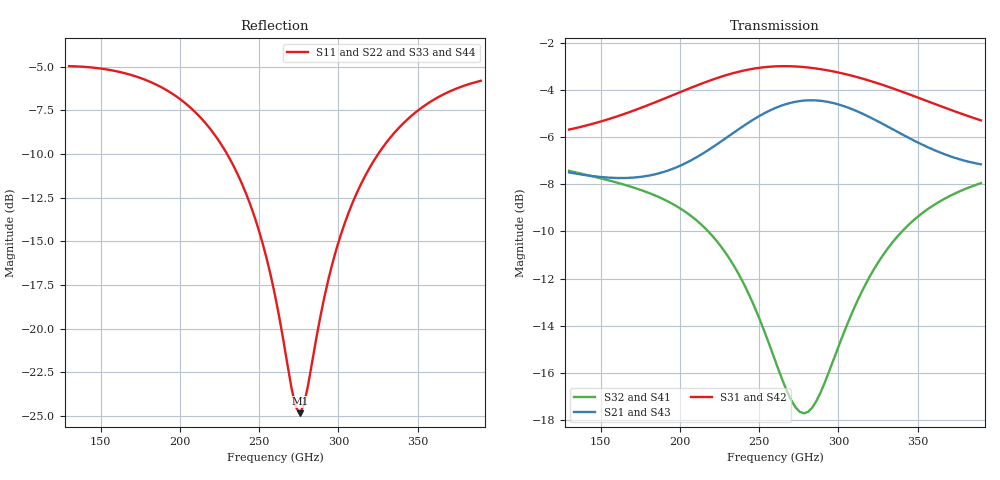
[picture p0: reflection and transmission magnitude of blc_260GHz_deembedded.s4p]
! Created with skrf 2.2.0 (http://scikit-rf.org).
# GHz S DB R 50.0
! Port[1] = P1
! Port[2] = P2
! Port[3] = P3
! Port[4] = P4
!freq dBS11 angS11 dBS12 angS12 dBS13 angS13
! dBS14 angS14
! dBS21 angS21 dBS22 angS22 dBS23 angS23
! dBS24 angS24
! dBS31 angS31 dBS32 angS32 dBS33 angS33
! dBS34 angS34
! dBS41 angS41 dBS42 angS42 dBS43 angS43
! dBS44 angS44
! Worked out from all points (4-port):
!   101 points, 130 GHz to 390 GHz, reference 50 ohm
!   strongest paths, dB at 130 GHz, 195 GHz, 260 GHz, 325 GHz, 390 GHz:
!     S31: -5.7, -4.2, -3.0, -3.7, -5.3
!     S42: -5.7, -4.2, -3.0, -3.7, -5.3
!     S21: -7.5, -7.4, -4.8, -5.3, -7.2
!     S43: -7.5, -7.4, -4.8, -5.3, -7.2
!     S32: -7.4, -8.8, -15.5, -11.3, -8.0
!     S41: -7.4, -8.8, -15.5, -11.3, -7.9
!   lowest |S11| = -24.9 dB at 275.6 GHz (marker M1), VSWR 1.12, Z = 56 - j0.939 ohm
!   |S11| at or under -10 dB: 229.7 GHz to 325.2 GHz (95.52 GHz wide, 34.4 % of centre)
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130  -4.98 159.4  -7.49 -48.6  -5.68 -77.3  -7.43 -59.8
     -7.49 -48.6  -4.98 159.4  -7.43 -59.7  -5.67 -77.2
     -5.68 -77.3  -7.43 -59.7  -4.98 159.4  -7.50 -48.6
     -7.43 -59.8  -5.67 -77.2  -7.50 -48.6  -4.98 159.3
187.2  -6.13 134.0  -7.52 -59.6  -4.44 -113.0  -8.57 -86.4
       -7.52 -59.6  -6.14 134.0  -8.56 -86.4  -4.44 -113.0
       -4.44 -113.0  -8.56 -86.4  -6.14 134.0  -7.53 -59.6
       -8.57 -86.4  -4.44 -113.0  -7.53 -59.6  -6.13 133.9
226.2  -9.48 107.2  -6.17 -68.9  -3.43 -142.6  -10.68 -107.6
       -6.17 -68.9  -9.48 107.2  -10.67 -107.7  -3.43 -142.6
       -3.43 -142.6  -10.67 -107.7  -9.49 107.1  -6.18 -68.9
       -10.68 -107.6  -3.43 -142.6  -6.18 -68.9  -9.48 107.1
252.2  -15.12 79.8  -5.02 -81.3  -3.04 -164.9  -14.06 -116.1
       -5.02 -81.3  -15.14 79.6  -14.05 -116.2  -3.03 -164.9
       -3.04 -164.9  -14.05 -116.2  -15.14 79.5  -5.03 -81.3
       -14.06 -116.1  -3.03 -164.9  -5.03 -81.3  -15.14 79.5
275.6  -24.85 -8.4  -4.47 -96.3  -3.01 174.6  -17.64 -97.0
       -4.47 -96.3  -24.71 -9.1  -17.65 -97.2  -3.01 174.6
       -3.01 174.6  -17.65 -97.2  -24.70 -9.1  -4.48 -96.3
       -17.64 -97.0  -3.01 174.6  -4.48 -96.3  -24.72 -9.2
317.2  -11.21 -112.0  -5.06 -122.5  -3.55 139.6  -12.22 -71.7
       -5.06 -122.5  -11.18 -111.8  -12.24 -71.6  -3.55 139.6
       -3.55 139.6  -12.24 -71.6  -11.18 -111.8  -5.07 -122.5
       -12.22 -71.7  -3.55 139.6  -5.07 -122.5  -11.18 -111.9
390  -5.81 -154.8  -7.15 -147.4  -5.28 87.4  -7.94 -108.9
     -7.15 -147.4  -5.80 -154.6  -7.95 -108.8  -5.29 87.3
     -5.28 87.4  -7.95 -108.8  -5.80 -154.6  -7.16 -147.4
     -7.94 -108.9  -5.29 87.3  -7.16 -147.4  -5.80 -154.8
